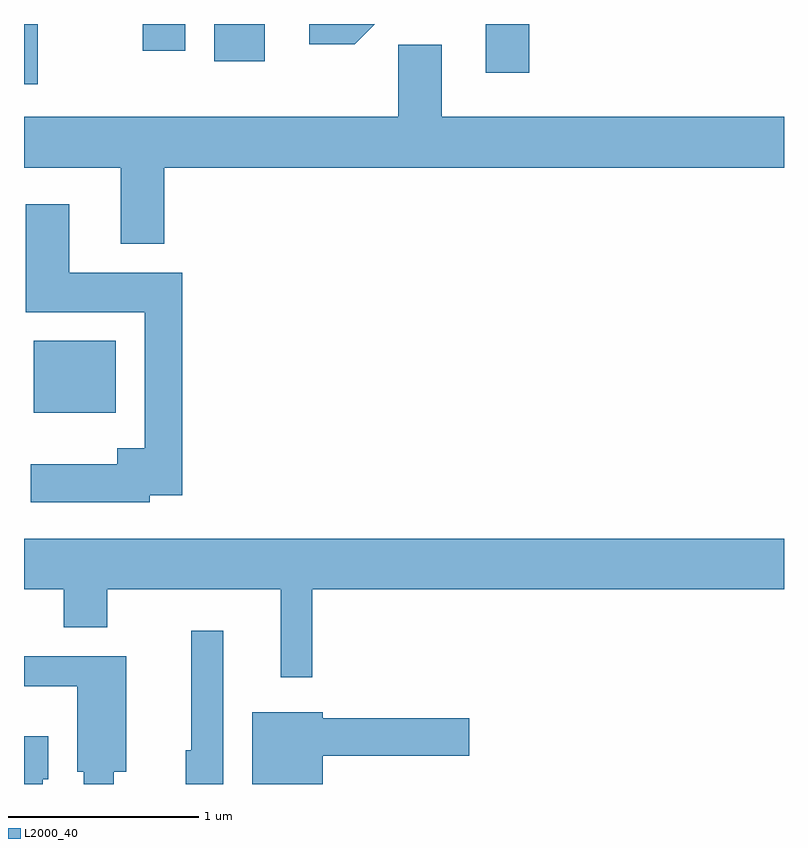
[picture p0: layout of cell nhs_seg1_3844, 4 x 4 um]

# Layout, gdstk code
import gdstk
lib = gdstk.Library(unit=1e-6, precision=1e-09)
def R(c, l, rs):  # rectangles x0, y0, x1, y1
    for r in rs: c.add(gdstk.rectangle(r[:2], r[2:], *l))
def P(c, l, *ps):  # polygons
    for p in ps: c.add(gdstk.Polygon(p, *l))
L2000_40 = (2000, 40)

nhs_seg1_3844 = lib.new_cell('nhs_seg1_3844')
R(nhs_seg1_3844, L2000_40, [(301.661,851.666,302.094,852.044), (301.611,853.396,301.684,853.712), (304.041,853.456,304.269,853.712), (302.611,853.516,302.879,853.712), (302.236,853.571,302.459,853.712)])
P(nhs_seg1_3844, L2000_40, [(303.458,853.712),(303.113,853.712),(303.113,853.606),(303.352,853.606)],
  [(302.349,852.956),(305.611,852.956),(305.611,853.224),(303.809,853.224),(303.809,853.604),(303.581,853.604),(303.581,853.224),(301.611,853.224),(301.611,852.956),(302.121,852.956),(302.121,852.556),(302.349,852.556)],
  [(302.274,851.231),(302.444,851.231),(302.444,852.404),(301.849,852.404),(301.849,852.764),(301.621,852.764),(301.621,852.196),(302.246,852.196),(302.246,851.479),(302.101,851.479),(302.101,851.394),(301.646,851.394),(301.646,851.196),(302.274,851.196)],
  [(303.129,850.736),(305.611,850.736),(305.611,851.004),(301.611,851.004),(301.611,850.736),(301.821,850.736),(301.821,850.536),(302.049,850.536),(302.049,850.736),(302.961,850.736),(302.961,850.273),(303.129,850.273)],
  [(302.659,850.518),(302.491,850.518),(302.491,849.889),(302.461,849.889),(302.461,849.712),(302.659,849.712)],
  [(302.084,849.776),(302.149,849.776),(302.149,850.384),(301.611,850.384),(301.611,850.226),(301.891,850.226),(301.891,849.776),(301.926,849.776),(301.926,849.712),(302.084,849.712)],
  [(303.184,849.861),(303.954,849.861),(303.954,850.059),(303.184,850.059),(303.184,850.089),(302.811,850.089),(302.811,849.712),(303.184,849.712)],
  [(301.709,849.736),(301.739,849.736),(301.739,849.964),(301.611,849.964),(301.611,849.712),(301.709,849.712)])

lib.write_gds('nhs_seg1_3844.gds')
